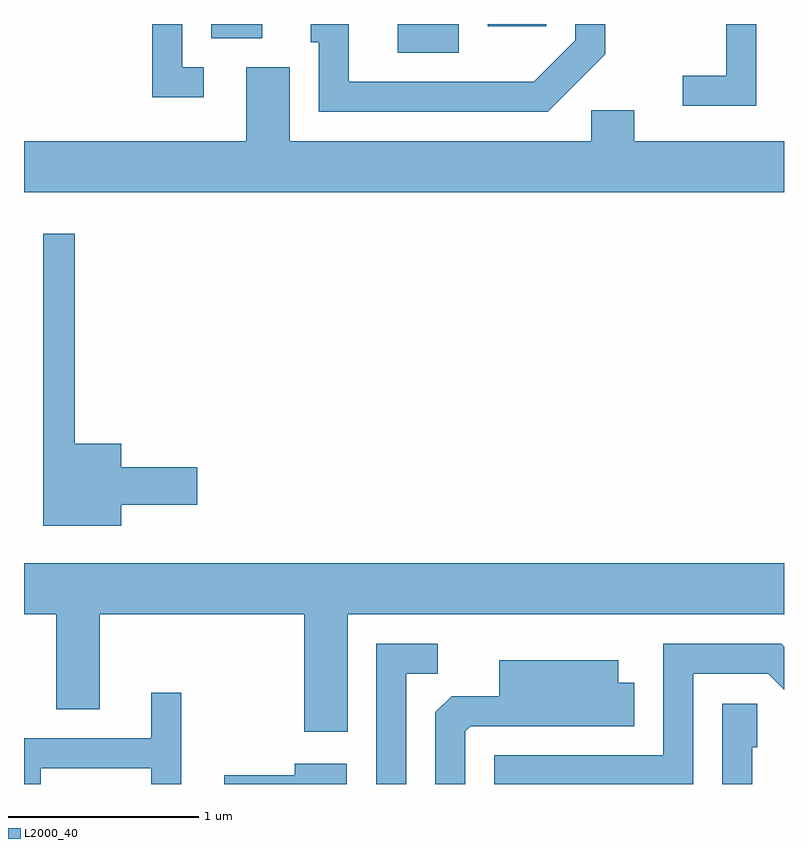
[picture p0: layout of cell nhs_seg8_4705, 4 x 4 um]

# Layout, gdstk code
import gdstk
lib = gdstk.Library(unit=1e-6, precision=1e-09)
def R(c, l, rs):  # rectangles x0, y0, x1, y1
    for r in rs: c.add(gdstk.rectangle(r[:2], r[2:], *l))
def P(c, l, *ps):  # polygons
    for p in ps: c.add(gdstk.Polygon(p, *l))
L2000_40 = (2000, 40)

nhs_seg8_4705 = lib.new_cell('nhs_seg8_4705')
R(nhs_seg8_4705, L2000_40, [(327.578,1908.191,327.899,1908.342), (326.596,1908.266,326.864,1908.342), (328.051,1908.331,328.359,1908.342)])
P(nhs_seg8_4705, L2000_40, [(329.464,1908.342),(329.306,1908.342),(329.306,1908.069),(329.078,1908.069),(329.078,1907.911),(329.464,1907.911)],
  [(328.669,1908.184),(328.669,1908.342),(328.511,1908.342),(328.511,1908.257),(328.294,1908.039),(327.319,1908.039),(327.319,1908.342),(327.121,1908.342),(327.121,1908.246),(327.161,1908.246),(327.161,1907.881),(328.367,1907.881)],
  [(326.558,1908.114),(326.444,1908.114),(326.444,1908.342),(326.286,1908.342),(326.286,1907.956),(326.558,1907.956)],
  [(329.611,1907.724),(328.824,1907.724),(328.824,1907.889),(328.596,1907.889),(328.596,1907.724),(327.009,1907.724),(327.009,1908.114),(326.781,1908.114),(326.781,1907.724),(325.611,1907.724),(325.611,1907.456),(329.611,1907.456)],
  [(326.124,1905.811),(326.524,1905.811),(326.524,1906.009),(326.124,1906.009),(326.124,1906.134),(325.879,1906.134),(325.879,1907.238),(325.711,1907.238),(325.711,1905.701),(326.124,1905.701)],
  [(325.611,1905.236),(325.781,1905.236),(325.781,1904.736),(326.009,1904.736),(326.009,1905.236),(327.086,1905.236),(327.086,1904.616),(327.314,1904.616),(327.314,1905.236),(329.611,1905.236),(329.611,1905.504),(325.611,1905.504)],
  [(327.624,1904.921),(327.788,1904.921),(327.788,1905.079),(327.466,1905.079),(327.466,1904.342),(327.624,1904.342)],
  [(329.134,1904.921),(329.529,1904.921),(329.611,1904.839),(329.611,1905.065),(329.597,1905.079),(328.976,1905.079),(328.976,1904.494),(328.086,1904.494),(328.086,1904.342),(329.134,1904.342)],
  [(327.934,1904.619),(327.962,1904.646),(328.824,1904.646),(328.824,1904.874),(328.739,1904.874),(328.739,1904.994),(328.111,1904.994),(328.111,1904.804),(327.862,1904.804),(327.776,1904.719),(327.776,1904.342),(327.934,1904.342)],
  [(325.699,1904.426),(326.281,1904.426),(326.281,1904.342),(326.439,1904.342),(326.439,1904.823),(326.281,1904.823),(326.281,1904.584),(325.611,1904.584),(325.611,1904.342),(325.699,1904.342)],
  [(329.444,1904.536),(329.469,1904.536),(329.469,1904.764),(329.286,1904.764),(329.286,1904.342),(329.444,1904.342)],
  [(327.309,1904.449),(327.036,1904.449),(327.036,1904.389),(326.666,1904.389),(326.666,1904.342),(327.309,1904.342)])

lib.write_gds('nhs_seg8_4705.gds')
